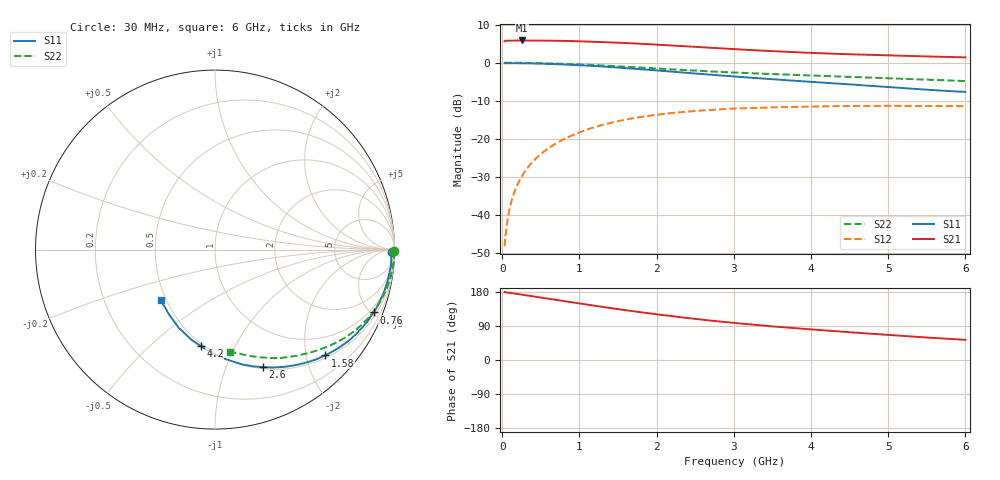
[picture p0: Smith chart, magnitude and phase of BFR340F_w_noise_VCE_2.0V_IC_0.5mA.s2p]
! Infineon Technologies  Discrete & RF Semiconductors
! BFR340F
! VCE =  2.0 V,  IC =  0.5 mA
! Common Emitter S-Parameters:  Nov 2015
# GHz  S  MA  R  50
!  f  S11  S21  S12  S22
! GHz  MAG  ANG  MAG  ANG  MAG  ANG  MAG  ANG
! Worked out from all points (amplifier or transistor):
!   206 points, 30 MHz to 6 GHz, reference 50 ohm
!   highest |S21| = 5.8 dB at 260 MHz (marker M1)
!   |S21| within 3 dB of that: start of sweep to 3.69 GHz
!   unconditionally stable (mu >= 1): nowhere
!   at 200 MHz: K = 0.03, MSG = 18.8 dB, |S12| = -31.8 dB
!   at 1.56 GHz: K = 0.30, MSG = 10.2 dB, |S12| = -15.1 dB
!   at 6 GHz: K = 0.93, MSG = 6.4 dB, |S12| = -11.4 dB
!   lowest NFmin = 0.60 dB at 450 MHz
!   S11 on the Smith chart (normalised r, x): 30 MHz: 78, -57; 760 MHz: 0.71, -5.15; 1.58 GHz: 0.56, -2.37; 2.6 GHz: 0.52, -1.36; 4.2 GHz: 0.48, -0.74; 6 GHz: 0.47, -0.32
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0.03  0.9835 -0.7  1.909 179.4  0.0039 89.8  0.9988 -0.6
0.04  0.9862 -1.1  1.95 178.8  0.0052 88.5  0.9985 -0.8
0.06  0.984 -1.7  1.936 178.1  0.0077 89.0  0.9987 -1.3
0.09  0.9845 -2.7  1.949 177.4  0.0115 88.3  0.9985 -1.9
0.11  0.9842 -3.1  1.943 176.9  0.0141 88.0  0.9984 -2.3
0.17  0.9844 -4.9  1.951 174.9  0.0218 86.2  0.9975 -3.6
0.26  0.9806 -7.4  1.957 172.2  0.0332 84.5  0.9955 -5.6
0.36  0.9775 -10.3  1.954 169.1  0.0458 82.6  0.9924 -7.7
0.48  0.9717 -13.6  1.949 165.4  0.0608 80.1  0.9871 -10.3
0.76  0.9503 -21.6  1.933 156.6  0.0946 74.2  0.9699 -16.1
1.04  0.9222 -29.4  1.904 148.0  0.1261 68.6  0.946 -21.8
1.24  0.8982 -34.8  1.876 141.9  0.1468 64.6  0.9256 -25.8
1.58  0.8506 -43.9  1.816 131.9  0.1773 58.2  0.8872 -32.1
2.02  0.7879 -54.6  1.718 120.1  0.2081 51.0  0.8369 -39.5
2.38  0.7372 -62.9  1.641 111.3  0.2274 46.0  0.7986 -44.8
2.6  0.7077 -67.8  1.592 106.2  0.2366 43.2  0.7759 -48.0
3.1  0.6481 -78.1  1.488 96.1  0.2514 37.9  0.7349 -54.1
3.5  0.607 -85.7  1.416 88.6  0.2595 34.5  0.7086 -58.4
4.1  0.5517 -96.6  1.331 79.2  0.2666 31.0  0.6738 -63.6
4.2  0.5426 -98.5  1.319 77.8  0.2673 30.5  0.6676 -64.5
5.1  0.4715 -116.9  1.239 64.8  0.271 26.8  0.6171 -73.0
6  0.4136 -136.8  1.174 53.2  0.2687 25.9  0.5736 -81.8
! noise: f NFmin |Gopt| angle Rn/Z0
0.45  0.6  0.91  5  1.13
0.9  0.64  0.87  13  1.13
1.9  1.21  0.74  27  0.92
2.4  1.31  0.7  36  0.86
